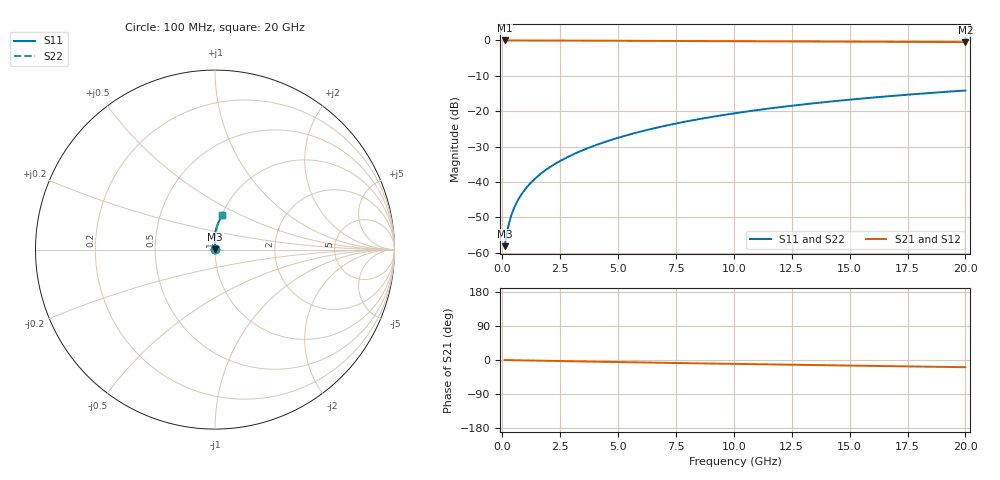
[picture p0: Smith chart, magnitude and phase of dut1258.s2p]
! Touchstone file exported from HFSS 2024.1.0
!  File:  C:/UserFiles/LocalFiles/RDL_TSV_Batchsim/temp_RDL_top_1258_1780241669.aedt
!  Generated:  11:36:42 PM May 31, 2026
!  Design:  RDL_top
!  Project:  temp_RDL_top_1258_1780241669
!  Setup:  Setup1
!  Solution:  Sweep
! Variables:
!  dtsv = 10.80580581um
!  hbump = 3um
!  htsv = 59.95um
!  ldown = 100um
!  lrdl = 244.31um
!  p = 40
!  p1 = 56.89um
!  rhole = 1um
!  t = 450um
!  tdown = 3.915915916um
!  trdl = 4.53um
!  wdown = 15.38538539um
!  wrdl = 27.25um
# GHz S MA R 50.000000
! Terminal data exported
! Port[1] = Box2_T1
! Port[2] = Box2_T2
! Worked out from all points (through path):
!   200 points, 100 MHz to 20 GHz, reference 50 ohm
!   highest |S21| = -0.01 dB at 100 MHz (marker M1); lowest = -0.5 dB at 20 GHz (marker M2)
!   group delay of S21, straight-line fit = 2.6 ps
!   lowest |S11| = -58.2 dB at 100 MHz (marker M3), VSWR 1.00, Z = 50.1 + j0.0855 ohm
!   |S11| at or under -10 dB: start of sweep to end of sweep
!   |S22| runs from -58.2 to -14.2 dB; largest |S21 - S12| = 3.3e-15
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0.1  0.001235 43.7  0.9991 -0.1  0.9991 -0.1  0.001235 43.7
! Gamma 0 0 0 0
! Port Impedance 50 0 50 0
0.2  0.001927 61.4  0.999 -0.2  0.999 -0.2  0.001927 61.4
0.3  0.002683 69.1  0.9989 -0.4  0.9989 -0.4  0.002683 69.1
0.4  0.003445 73.3  0.9989 -0.5  0.9989 -0.5  0.003445 73.3
0.5  0.004202 76.1  0.9988 -0.6  0.9988 -0.6  0.004202 76.1
0.7  0.005704 79.7  0.9986 -0.8  0.9986 -0.8  0.005703 79.7
1  0.007959 83.1  0.9984 -1.2  0.9984 -1.2  0.007959 83.1
1.4  0.01101 85.9  0.9979 -1.6  0.9979 -1.6  0.01101 85.9
1.7  0.01335 87.3  0.9974 -1.9  0.9974 -1.9  0.01335 87.3
2  0.01573 88.4  0.9969 -2.3  0.9969 -2.3  0.01573 88.4
2.7  0.02145 90.2  0.9954 -3.1  0.9954 -3.1  0.02145 90.2
3.5  0.0283 91.4  0.9934 -3.9  0.9934 -3.9  0.0283 91.4
4.2  0.03457 92.0  0.9914 -4.7  0.9914 -4.7  0.03457 92.0
5  0.04203 92.3  0.989 -5.5  0.989 -5.5  0.04203 92.3
5.9  0.05075 92.3  0.9862 -6.4  0.9862 -6.4  0.05075 92.3
6.8  0.05974 91.9  0.9834 -7.3  0.9834 -7.3  0.05974 91.9
8.4  0.07619 90.7  0.9785 -8.8  0.9785 -8.8  0.07619 90.7
10.1  0.09403 89.0  0.9736 -10.3  0.9736 -10.3  0.09403 89.0
11.7  0.1109 87.3  0.9691 -11.8  0.9691 -11.8  0.1109 87.3
13.4  0.1288 85.3  0.9645 -13.3  0.9645 -13.3  0.1288 85.3
16.7  0.1629 81.6  0.9557 -16.2  0.9557 -16.2  0.1629 81.6
20  0.1959 77.9  0.9469 -19.0  0.9469 -19.0  0.1959 77.9
